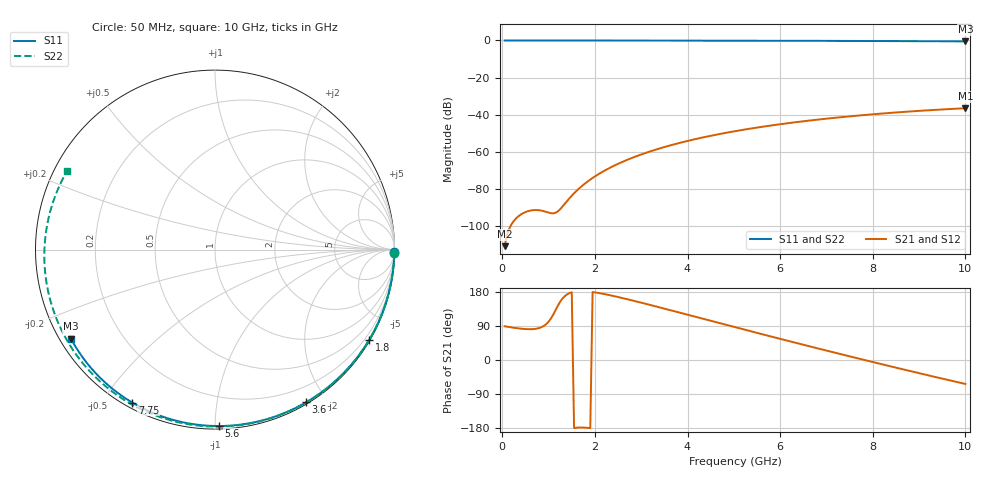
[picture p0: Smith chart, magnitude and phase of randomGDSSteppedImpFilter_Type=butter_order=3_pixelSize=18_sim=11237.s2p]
! freq	dB(S11)	phase(S11)	dB(S12)	phase(S12)
!  dB(S21)	phase(S21)	dB(S22)	phase(S22)
!S-par simulation data
#  GHz  S  DB  R 50
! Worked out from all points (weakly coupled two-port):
!   200 points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, 50 MHz to 10 GHz, reference 50 ohm
!   highest |S21| = -36.49 dB at 10 GHz (marker M1); lowest = -110.7 dB at 50 MHz (marker M2)
!   lowest |S11| = -0.5 dB at 10 GHz (marker M3), VSWR 34.46, Z = 1.57 - j14.2 ohm
!   |S11| at or under -10 dB: nowhere
!   |S22| runs from -0.6 to 0.0 dB; largest |S21 - S12| = 0
!   S11 on the Smith chart (normalised r, x): 50 MHz: open; 1.8 GHz: 0.03, -3.69; 3.6 GHz: 0.02, -1.76; 5.6 GHz: 0.02, -1.02; 7.75 GHz: 0.02, -0.60; 10 GHz: 0.03, -0.28
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0.05  -0.00 -0.8  -110.73 89.0  -110.73 89.0  -0.00 -1.2
0.45  -0.01 -7.7  -92.96 82.1  -92.96 82.1  -0.02 -11.0
0.8  -0.02 -13.6  -91.41 84.5  -91.41 84.5  -0.03 -19.6
1.6  -0.03 -27.0  -81.02 -178.7  -81.02 -178.7  -0.05 -38.7
1.65  -0.04 -27.8  -79.85 -178.2  -79.85 -178.2  -0.05 -39.9
1.75  -0.04 -29.5  -77.70 -178.2  -77.70 -178.2  -0.05 -42.2
1.8  -0.04 -30.3  -76.71 -178.6  -76.71 -178.6  -0.05 -43.4
2.1  -0.05 -35.2  -71.62 176.4  -71.62 176.4  -0.06 -50.3
2.5  -0.05 -41.7  -66.40 166.2  -66.40 166.2  -0.08 -59.4
2.9  -0.06 -48.1  -62.27 154.4  -62.27 154.4  -0.09 -68.2
3.4  -0.07 -56.0  -58.10 138.7  -58.10 138.7  -0.10 -79.0
3.6  -0.08 -59.1  -56.66 132.4  -56.66 132.4  -0.11 -83.3
4.3  -0.10 -69.8  -52.37 109.9  -52.37 109.9  -0.14 -97.7
5.05  -0.12 -80.9  -48.73 85.8  -48.73 85.8  -0.17 -112.5
5.6  -0.15 -88.9  -46.51 68.4  -46.51 68.4  -0.20 -123.1
6.15  -0.17 -96.6  -44.59 51.1  -44.59 51.1  -0.23 -133.5
6.7  -0.20 -104.2  -42.92 34.0  -42.92 34.0  -0.27 -143.8
7.25  -0.24 -111.7  -41.46 17.2  -41.46 17.2  -0.31 -154.0
7.75  -0.28 -118.4  -40.28 2.1  -40.28 2.1  -0.36 -163.3
8.35  -0.33 -126.4  -39.04 -15.8  -39.04 -15.8  -0.41 -174.7
9.2  -0.41 -137.7  -37.58 -40.5  -37.58 -40.5  -0.51 168.7
10  -0.50 -148.3  -36.49 -63.2  -36.49 -63.2  -0.60 152.1
